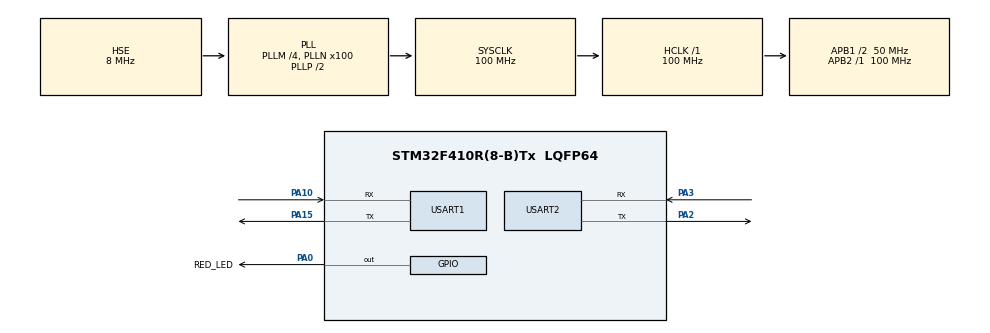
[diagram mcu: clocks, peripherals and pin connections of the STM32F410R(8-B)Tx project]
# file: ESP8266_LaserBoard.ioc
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Mcu.Family=STM32F4
Mcu.Name=STM32F410R(8-B)Tx
Mcu.Package=LQFP64
NVIC.PriorityGroup=NVIC_PRIORITYGROUP_4
NVIC.USART1_IRQn=true\:0\:0\:false\:false\:true\:true\:true
NVIC.USART2_IRQn=true\:0\:0\:false\:false\:true\:true\:true
PA0-WKUP.GPIO_Label=RED_LED
PA0-WKUP.Signal=GPIO_Output
PA10.Mode=Asynchronous
PA10.Signal=USART1_RX
PA13.Mode=Serial_Wire
PA13.Signal=SYS_JTMS-SWDIO
PA14.Mode=Serial_Wire
PA14.Signal=SYS_JTCK-SWCLK
PA15.Mode=Asynchronous
PA15.Signal=USART1_TX
PA2.Mode=Asynchronous
PA2.Signal=USART2_TX
PA3.Mode=Asynchronous
PA3.Signal=USART2_RX
PC14-OSC32_IN.Mode=LSE-External-Oscillator
PC14-OSC32_IN.Signal=RCC_OSC32_IN
PC15-OSC32_OUT.Mode=LSE-External-Oscillator
PC15-OSC32_OUT.Signal=RCC_OSC32_OUT
PH0\ -\ OSC_IN.Mode=HSE-External-Oscillator
PH0\ -\ OSC_IN.Signal=RCC_OSC_IN
PH1\ -\ OSC_OUT.Mode=HSE-External-Oscillator
PH1\ -\ OSC_OUT.Signal=RCC_OSC_OUT
ProjectManager.HeapSize=0x200
ProjectManager.StackSize=0x400
ProjectManager.TargetToolchain=SW4STM32
RCC.48MHZClocksFreq_Value=50000000
RCC.AHBFreq_Value=100000000
RCC.APB1CLKDivider=RCC_HCLK_DIV2
RCC.APB1Freq_Value=50000000
RCC.APB1TimFreq_Value=100000000
RCC.APB2Freq_Value=100000000
RCC.APB2TimFreq_Value=100000000
RCC.CortexFreq_Value=100000000
RCC.HCLKFreq_Value=100000000
RCC.HSE_VALUE=8000000
RCC.HSI_VALUE=16000000
RCC.PLLM=4
RCC.PLLN=100
RCC.PLLSourceVirtual=RCC_PLLSOURCE_HSE
RCC.SYSCLKFreq_VALUE=100000000
RCC.SYSCLKSource=RCC_SYSCLKSOURCE_PLLCLK
RCC.VCOOutputFreq_Value=200000000
USART1.VirtualMode=VM_ASYNC
USART2.VirtualMode=VM_ASYNC
board=custom

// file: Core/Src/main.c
/* USER CODE BEGIN Header */
/**
  ******************************************************************************
  * @file           : main.c
  * @brief          : Main program body
  ******************************************************************************
  * @attention
  *
  * <h2><center>&copy; Copyright (c) 2021 STMicroelectronics.
  * All rights reserved.</center></h2>
  *
  * This software component is licensed by ST under BSD 3-Clause license,
  * the "License"; You may not use this file except in compliance with the
  * License. You may obtain a copy of the License at:
  *                        opensource.org/licenses/BSD-3-Clause
  *
  ******************************************************************************
  */
/* USER CODE END Header */
#include "main.h"

/* USER CODE BEGIN Includes */
#include "ESP8266_HAL.h"
#include "UartRingbuffer_multi.h"

/* USER CODE END Includes */

UART_HandleTypeDef huart1;
UART_HandleTypeDef huart2;

void SystemClock_Config(void);
static void MX_GPIO_Init(void);
static void MX_USART1_UART_Init(void);
static void MX_USART2_UART_Init(void);

/* USER CODE BEGIN 0 */
#include <errno.h>
#include <sys/stat.h>
#include <sys/times.h>
#include <sys/unistd.h>
int _write(int file, char *ptr, int len) {
    HAL_StatusTypeDef xStatus;
    switch (file) {
    case STDOUT_FILENO: /*stdout*/
		xStatus = HAL_UART_Transmit(&huart2, (uint8_t*)ptr, len, HAL_MAX_DELAY);
		if (xStatus != HAL_OK) {
			errno = EIO;
			return -1;
		}
        break;
    case STDERR_FILENO: /* stderr */
		xStatus = HAL_UART_Transmit(&huart2, (uint8_t*)ptr, len, HAL_MAX_DELAY);
		if (xStatus != HAL_OK) {
			errno = EIO;
			return -1;
		}
        break;
    default:
        errno = EBADF;
        return -1;
    }
    return len;
}

/* USER CODE END 0 */

int main(void)
{

  /* MCU Configuration--------------------------------------------------------*/

  /* Reset of all peripherals, Initializes the Flash interface and the Systick. */
  HAL_Init();

  /* Configure the system clock */
  SystemClock_Config();

  /* Initialize all configured peripherals */
  MX_GPIO_Init();
  MX_USART1_UART_Init();
  MX_USART2_UART_Init();
  /* USER CODE BEGIN 2 */
  printf("Start code\r\n");

  //HAL_UART_Transmit(&huart1,"test",sizeof("test"),100);

  ESP_Init("ORBI07","LMlm5m**");
  /* USER CODE END 2 */

  /* Infinite loop */
  while (1)
  {

    /* USER CODE BEGIN 3 */
	  printf("loop");
	  Server_Start();

  }
  /* USER CODE END 3 */
}

void SystemClock_Config(void)
{
  RCC_OscInitTypeDef RCC_OscInitStruct = {0};
  RCC_ClkInitTypeDef RCC_ClkInitStruct = {0};

  /** Configure the main internal regulator output voltage
  */
  __HAL_RCC_PWR_CLK_ENABLE();
  __HAL_PWR_VOLTAGESCALING_CONFIG(PWR_REGULATOR_VOLTAGE_SCALE1);
  /** Initializes the RCC Oscillators according to the specified parameters
  * in the RCC_OscInitTypeDef structure.
  */
  RCC_OscInitStruct.OscillatorType = RCC_OSCILLATORTYPE_HSE;
  RCC_OscInitStruct.HSEState = RCC_HSE_ON;
  RCC_OscInitStruct.PLL.PLLState = RCC_PLL_ON;
  RCC_OscInitStruct.PLL.PLLSource = RCC_PLLSOURCE_HSE;
  RCC_OscInitStruct.PLL.PLLM = 4;
  RCC_OscInitStruct.PLL.PLLN = 100;
  RCC_OscInitStruct.PLL.PLLP = RCC_PLLP_DIV2;
  RCC_OscInitStruct.PLL.PLLQ = 4;
  RCC_OscInitStruct.PLL.PLLR = 2;
  if (HAL_RCC_OscConfig(&RCC_OscInitStruct) != HAL_OK)
  {
    Error_Handler();
  }
  /** Initializes the CPU, AHB and APB buses clocks
  */
  RCC_ClkInitStruct.ClockType = RCC_CLOCKTYPE_HCLK|RCC_CLOCKTYPE_SYSCLK
                              |RCC_CLOCKTYPE_PCLK1|RCC_CLOCKTYPE_PCLK2;
  RCC_ClkInitStruct.SYSCLKSource = RCC_SYSCLKSOURCE_PLLCLK;
  RCC_ClkInitStruct.AHBCLKDivider = RCC_SYSCLK_DIV1;
  RCC_ClkInitStruct.APB1CLKDivider = RCC_HCLK_DIV2;
  RCC_ClkInitStruct.APB2CLKDivider = RCC_HCLK_DIV1;

  if (HAL_RCC_ClockConfig(&RCC_ClkInitStruct, FLASH_LATENCY_3) != HAL_OK)
  {
    Error_Handler();
  }
}

static void MX_USART1_UART_Init(void)
{

  huart1.Instance = USART1;
  huart1.Init.BaudRate = 115200;
  huart1.Init.WordLength = UART_WORDLENGTH_8B;
  huart1.Init.StopBits = UART_STOPBITS_1;
  huart1.Init.Parity = UART_PARITY_NONE;
  huart1.Init.Mode = UART_MODE_TX_RX;
  huart1.Init.HwFlowCtl = UART_HWCONTROL_NONE;
  huart1.Init.OverSampling = UART_OVERSAMPLING_16;
  if (HAL_UART_Init(&huart1) != HAL_OK)
  {
    Error_Handler();
  }

}

static void MX_USART2_UART_Init(void)
{

  huart2.Instance = USART2;
  huart2.Init.BaudRate = 115200;
  huart2.Init.WordLength = UART_WORDLENGTH_8B;
  huart2.Init.StopBits = UART_STOPBITS_1;
  huart2.Init.Parity = UART_PARITY_NONE;
  huart2.Init.Mode = UART_MODE_TX_RX;
  huart2.Init.HwFlowCtl = UART_HWCONTROL_NONE;
  huart2.Init.OverSampling = UART_OVERSAMPLING_16;
  if (HAL_UART_Init(&huart2) != HAL_OK)
  {
    Error_Handler();
  }

}

static void MX_GPIO_Init(void)
{
  GPIO_InitTypeDef GPIO_InitStruct = {0};

  /* GPIO Ports Clock Enable */
  __HAL_RCC_GPIOC_CLK_ENABLE();
  __HAL_RCC_GPIOH_CLK_ENABLE();
  __HAL_RCC_GPIOA_CLK_ENABLE();

  /*Configure GPIO pin Output Level */
  HAL_GPIO_WritePin(RED_LED_GPIO_Port, RED_LED_Pin, GPIO_PIN_RESET);

  /*Configure GPIO pin : RED_LED_Pin */
  GPIO_InitStruct.Pin = RED_LED_Pin;
  GPIO_InitStruct.Mode = GPIO_MODE_OUTPUT_PP;
  GPIO_InitStruct.Pull = GPIO_NOPULL;
  GPIO_InitStruct.Speed = GPIO_SPEED_FREQ_LOW;
  HAL_GPIO_Init(RED_LED_GPIO_Port, &GPIO_InitStruct);

}

void Error_Handler(void)
{
}

/************************ (C) COPYRIGHT STMicroelectronics *****END OF FILE****/
